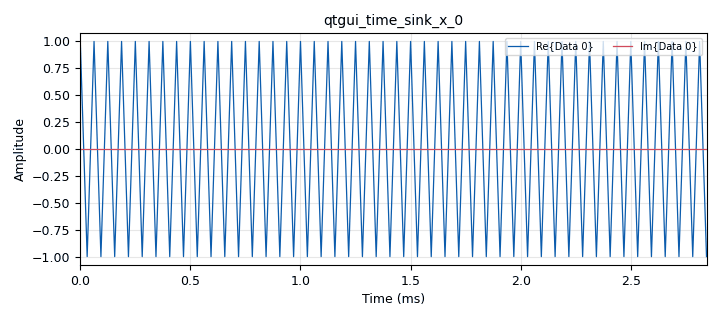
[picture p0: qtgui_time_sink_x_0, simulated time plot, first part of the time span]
<?xml version='1.0' encoding='utf-8'?>
<?grc format='1' created='3.7.10'?>
<flow_graph>
<block>
<key>options</key>
<param><key>id</key><value>burst_shape</value></param>
<param><key>generate_options</key><value>qt_gui</value></param>
</block>
<block>
<key>variable</key>
<param><key>id</key><value>samp_rate</value></param>
<param><key>value</key><value>32000</value></param>
</block>
<block>
<key>blocks_stream_to_tagged_stream</key>
<param><key>id</key><value>blocks_stream_to_tagged_stream_0</value></param>
<param><key>len_tag_key</key><value>"packet_len"</value></param>
<param><key>packet_len</key><value>1000</value></param>
<param><key>type</key><value>complex</value></param>
</block>
<block>
<key>blocks_throttle</key>
<param><key>id</key><value>blocks_throttle_0</value></param>
<param><key>samples_per_second</key><value>samp_rate</value></param>
<param><key>type</key><value>complex</value></param>
</block>
<block>
<key>blocks_vector_source_x</key>
<param><key>id</key><value>blocks_vector_source_x_0</value></param>
<param><key>type</key><value>complex</value></param>
<param><key>repeat</key><value>True</value></param>
<param><key>vector</key><value>[1,-1]*20</value></param>
</block>
<block>
<key>digital_burst_shaper_xx</key>
<param><key>id</key><value>digital_burst_shaper_xx_0</value></param>
<param><key>insert_phasing</key><value>True</value></param>
<param><key>length_tag_name</key><value>"packet_len"</value></param>
<param><key>post_padding</key><value>10</value></param>
<param><key>pre_padding</key><value>10</value></param>
<param><key>type</key><value>complex</value></param>
<param><key>window</key><value>fft.window.hann(40)</value></param>
</block>
<block>
<key>import</key>
<param><key>id</key><value>import_0</value></param>
<param><key>import</key><value>from gnuradio import fft</value></param>
</block>
<block>
<key>qtgui_time_sink_x</key>
<param><key>id</key><value>qtgui_time_sink_x_0</value></param>
<param><key>color1</key><value>"blue"</value></param>
<param><key>label1</key><value></value></param>
<param><key>color2</key><value>"red"</value></param>
<param><key>label2</key><value></value></param>
<param><key>size</key><value>1024</value></param>
<param><key>srate</key><value>samp_rate</value></param>
<param><key>type</key><value>complex</value></param>
</block>
<connection><source_block_id>blocks_stream_to_tagged_stream_0</source_block_id><sink_block_id>digital_burst_shaper_xx_0</sink_block_id><source_key>0</source_key><sink_key>0</sink_key></connection>
<connection><source_block_id>blocks_throttle_0</source_block_id><sink_block_id>qtgui_time_sink_x_0</sink_block_id><source_key>0</source_key><sink_key>0</sink_key></connection>
<connection><source_block_id>blocks_vector_source_x_0</source_block_id><sink_block_id>blocks_stream_to_tagged_stream_0</sink_block_id><source_key>0</source_key><sink_key>0</sink_key></connection>
<connection><source_block_id>digital_burst_shaper_xx_0</source_block_id><sink_block_id>blocks_throttle_0</sink_block_id><source_key>0</source_key><sink_key>0</sink_key></connection>
</flow_graph>
